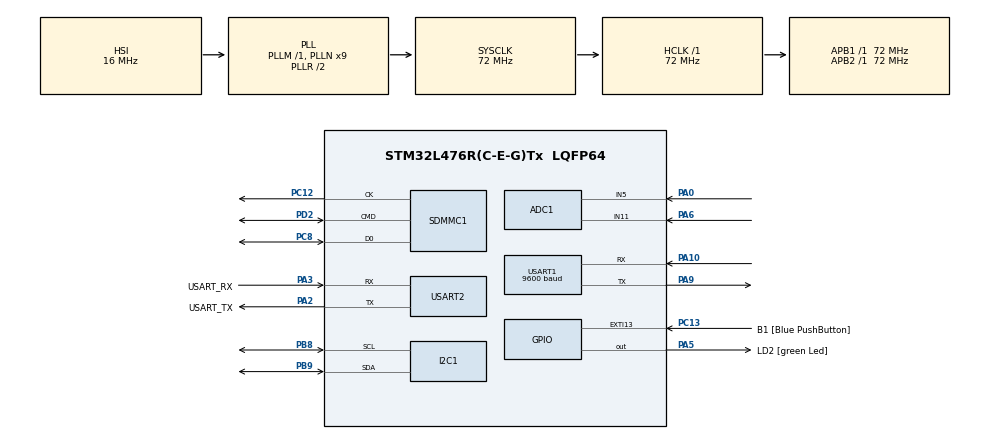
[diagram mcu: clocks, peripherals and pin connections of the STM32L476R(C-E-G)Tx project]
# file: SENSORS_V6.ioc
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ADC1.Channel-0\#ChannelRegularConversion=ADC_CHANNEL_5
ADC1.Channel-1\#ChannelRegularConversion=ADC_CHANNEL_11
ADC1.ContinuousConvMode=DISABLE
ADC1.DMAContinuousRequests=ENABLE
ADC1.DiscontinuousConvMode=ENABLE
ADC1.NbrOfConversion=2
ADC1.NbrOfConversionFlag=1
ADC1.OffsetNumber-0\#ChannelRegularConversion=ADC_OFFSET_NONE
ADC1.OffsetNumber-1\#ChannelRegularConversion=ADC_OFFSET_NONE
ADC1.OversamplingMode=ENABLE
ADC1.Rank-0\#ChannelRegularConversion=1
ADC1.Rank-1\#ChannelRegularConversion=2
ADC1.SamplingTime-0\#ChannelRegularConversion=ADC_SAMPLETIME_2CYCLES_5
ADC1.SamplingTime-1\#ChannelRegularConversion=ADC_SAMPLETIME_2CYCLES_5
ADC1.master=1
Dma.ADC1.0.Direction=DMA_PERIPH_TO_MEMORY
Dma.ADC1.0.Instance=DMA1_Channel1
Dma.ADC1.0.MemDataAlignment=DMA_MDATAALIGN_HALFWORD
Dma.ADC1.0.MemInc=DMA_MINC_ENABLE
Dma.ADC1.0.Mode=DMA_CIRCULAR
Dma.ADC1.0.PeriphDataAlignment=DMA_PDATAALIGN_HALFWORD
Dma.ADC1.0.PeriphInc=DMA_PINC_DISABLE
Dma.ADC1.0.Priority=DMA_PRIORITY_LOW
Dma.Request0=ADC1
FATFS._MAX_SS=4096
I2C1.Timing=0x10808DD3
Mcu.Family=STM32L4
Mcu.Name=STM32L476R(C-E-G)Tx
Mcu.Package=LQFP64
NVIC.DMA1_Channel1_IRQn=true\:0\:0\:false\:false\:true\:false
NVIC.PriorityGroup=NVIC_PRIORITYGROUP_4
PA0.Signal=ADCx_IN5
PA10.Mode=Asynchronous
PA10.Signal=USART1_RX
PA13\ (JTMS-SWDIO).GPIO_Label=TMS
PA13\ (JTMS-SWDIO).Mode=Serial_Wire
PA13\ (JTMS-SWDIO).Signal=SYS_JTMS-SWDIO
PA14\ (JTCK-SWCLK).GPIO_Label=TCK
PA14\ (JTCK-SWCLK).Mode=Serial_Wire
PA14\ (JTCK-SWCLK).Signal=SYS_JTCK-SWCLK
PA2.GPIO_Label=USART_TX
PA2.GPIO_Mode=GPIO_MODE_AF_PP
PA2.GPIO_PuPd=GPIO_NOPULL
PA2.GPIO_Speed=GPIO_SPEED_FREQ_VERY_HIGH
PA2.Mode=Asynchronous
PA2.Signal=USART2_TX
PA3.GPIO_Label=USART_RX
PA3.GPIO_Mode=GPIO_MODE_AF_PP
PA3.GPIO_PuPd=GPIO_NOPULL
PA3.GPIO_Speed=GPIO_SPEED_FREQ_VERY_HIGH
PA3.Mode=Asynchronous
PA3.Signal=USART2_RX
PA5.GPIO_Label=LD2 [green Led]
PA5.GPIO_ModeDefaultOutputPP=GPIO_MODE_OUTPUT_PP
PA5.GPIO_PuPd=GPIO_NOPULL
PA5.GPIO_Speed=GPIO_SPEED_FREQ_LOW
PA5.Signal=GPIO_Output
PA6.Signal=ADCx_IN11
PA9.Mode=Asynchronous
PA9.Signal=USART1_TX
PB3\ (JTDO-TRACESWO).GPIO_Label=SWO
PB3\ (JTDO-TRACESWO).Signal=SYS_JTDO-SWO
PB8.Mode=I2C
PB8.Signal=I2C1_SCL
PB9.Mode=I2C
PB9.Signal=I2C1_SDA
PC12.Mode=SD_1_bit
PC12.Signal=SDMMC1_CK
PC13.GPIO_Label=B1 [Blue PushButton]
PC13.GPIO_ModeDefaultEXTI=GPIO_MODE_IT_FALLING
PC13.GPIO_PuPd=GPIO_NOPULL
PC13.Signal=GPXTI13
PC14-OSC32_IN\ (PC14).Mode=LSE-External-Oscillator
PC14-OSC32_IN\ (PC14).Signal=RCC_OSC32_IN
PC15-OSC32_OUT\ (PC15).Mode=LSE-External-Oscillator
PC15-OSC32_OUT\ (PC15).Signal=RCC_OSC32_OUT
PC8.Mode=SD_1_bit
PC8.Signal=SDMMC1_D0
PD2.Mode=SD_1_bit
PD2.Signal=SDMMC1_CMD
PH0-OSC_IN\ (PH0).Signal=RCC_OSC_IN
PH1-OSC_OUT\ (PH1).Signal=RCC_OSC_OUT
ProjectManager.HeapSize=0x2000
ProjectManager.StackSize=0x4000
ProjectManager.TargetToolchain=TrueSTUDIO
RCC.ADCFreq_Value=64000000
RCC.AHBFreq_Value=72000000
RCC.APB1Freq_Value=72000000
RCC.APB1TimFreq_Value=72000000
RCC.APB2Freq_Value=72000000
RCC.APB2TimFreq_Value=72000000
RCC.CortexFreq_Value=72000000
RCC.HCLKFreq_Value=72000000
RCC.HSE_VALUE=8000000
RCC.HSI_VALUE=16000000
RCC.MSI_VALUE=4000000
RCC.PLLN=9
RCC.PLLSAI1Q=RCC_PLLQ_DIV4
RCC.PLLSourceVirtual=RCC_PLLSOURCE_HSI
RCC.PREFETCH_ENABLE=1
RCC.SYSCLKFreq_VALUE=72000000
RCC.SYSCLKSource=RCC_SYSCLKSOURCE_PLLCLK
RCC.USBFreq_Value=32000000
RCC.VCOOutputFreq_Value=144000000
SH.ADCx_IN11.0=ADC1_IN11,IN11-Single-Ended
SH.ADCx_IN5.0=ADC1_IN5,IN5-Single-Ended
USART1.BaudRate=9600
USART1.VirtualMode-Asynchronous=VM_ASYNC
USART2.VirtualMode-Asynchronous=VM_ASYNC
VP_FATFS_VS_SDIO.Mode=SDIO
board=NUCLEO-L476RG

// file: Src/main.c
/* USER CODE BEGIN Header */
/**
  ******************************************************************************
  * @file           : main.c
  * @brief          : Main program body
  ******************************************************************************
  * This notice applies to any and all portions of this file
  * that are not between comment pairs USER CODE BEGIN and
  * USER CODE END. Other portions of this file, whether
  * inserted by the user or by software development tools
  * are owned by their respective copyright owners.
  *
  * Copyright (c) 2019 STMicroelectronics International N.V.
  * All rights reserved.
  *
  * Redistribution and use in source and binary forms, with or without
  * modification, are permitted, provided that the following conditions are met:
  *
  * 1. Redistribution of source code must retain the above copyright notice,
  *    this list of conditions and the following disclaimer.
  * 2. Redistributions in binary form must reproduce the above copyright notice,
  *    this list of conditions and the following disclaimer in the documentation
  *    and/or other materials provided with the distribution.
  * 3. Neither the name of STMicroelectronics nor the names of other
  *    contributors to this software may be used to endorse or promote products
  *    derived from this software without specific written permission.
  * 4. This software, including modifications and/or derivative works of this
  *    software, must execute solely and exclusively on microcontroller or
  *    microprocessor devices manufactured by or for STMicroelectronics.
  * 5. Redistribution and use of this software other than as permitted under
  *    this license is void and will automatically terminate your rights under
  *    this license.
  *
  * THIS SOFTWARE IS PROVIDED BY STMICROELECTRONICS AND CONTRIBUTORS "AS IS"
  * AND ANY EXPRESS, IMPLIED OR STATUTORY WARRANTIES, INCLUDING, BUT NOT
  * LIMITED TO, THE IMPLIED WARRANTIES OF MERCHANTABILITY, FITNESS FOR A
  * PARTICULAR PURPOSE AND NON-INFRINGEMENT OF THIRD PARTY INTELLECTUAL PROPERTY
  * RIGHTS ARE DISCLAIMED TO THE FULLEST EXTENT PERMITTED BY LAW. IN NO EVENT
  * SHALL STMICROELECTRONICS OR CONTRIBUTORS BE LIABLE FOR ANY DIRECT, INDIRECT,
  * INCIDENTAL, SPECIAL, EXEMPLARY, OR CONSEQUENTIAL DAMAGES (INCLUDING, BUT NOT
  * LIMITED TO, PROCUREMENT OF SUBSTITUTE GOODS OR SERVICES; LOSS OF USE, DATA,
  * OR PROFITS; OR BUSINESS INTERRUPTION) HOWEVER CAUSED AND ON ANY THEORY OF
  * LIABILITY, WHETHER IN CONTRACT, STRICT LIABILITY, OR TORT (INCLUDING
  * NEGLIGENCE OR OTHERWISE) ARISING IN ANY WAY OUT OF THE USE OF THIS SOFTWARE,
  * EVEN IF ADVISED OF THE POSSIBILITY OF SUCH DAMAGE.
  *
  ******************************************************************************
  */
/* USER CODE END Header */

#include "main.h"
#include "adc.h"
#include "dma.h"
#include "fatfs.h"
#include "i2c.h"
#include "sdmmc.h"
#include "usart.h"
#include "gpio.h"

/* USER CODE BEGIN Includes */

#include "SENSORS_V6.h"
#include "string.h"
#include "gps.h"

/* USER CODE END Includes */

void SystemClock_Config(void);

int main(void)
{

  /* MCU Configuration--------------------------------------------------------*/

  /* Reset of all peripherals, Initializes the Flash interface and the Systick. */
  HAL_Init();

  /* Configure the system clock */
  SystemClock_Config();

  /* Initialize all configured peripherals */
  MX_GPIO_Init();
  MX_DMA_Init();
  MX_USART2_UART_Init();
  MX_I2C1_Init();
  MX_SDMMC1_SD_Init();
  MX_FATFS_Init();
  MX_USART1_UART_Init();
  MX_ADC1_Init();
  /* USER CODE BEGIN 2 */

  TEMP_HUM_init();
  PRES_init();
  MAGN_init();
  DMA_init();

  uint32_t GPS_COORD[3];

  /* USER CODE END 2 */

  /* Infinite loop */
  /* USER CODE BEGIN WHILE */
  while (1)
  {
	  get_TEMP();				//TEMPERATURE		(°C)
	  get_HUM();				//HUMIDITE			(%)
	  get_PRES();				//PRESSION			(mbar ou hPa)
	  get_MAGN();				//CHAMP MAGNETIQUE	(mgauss)
	  get_ADC();				//GAS				(ppm)

	  GPS_GETPOS(GPS_COORD);	//POSITION GPS		(m)

	  SD_SENSORS(GPS_COORD[0],GPS_COORD[1],GPS_COORD[2]);

    /* USER CODE END WHILE */

  }
}

void SystemClock_Config(void)
{
  RCC_OscInitTypeDef RCC_OscInitStruct = {0};
  RCC_ClkInitTypeDef RCC_ClkInitStruct = {0};
  RCC_PeriphCLKInitTypeDef PeriphClkInit = {0};

  /**Initializes the CPU, AHB and APB busses clocks
  */
  RCC_OscInitStruct.OscillatorType = RCC_OSCILLATORTYPE_HSI;
  RCC_OscInitStruct.HSIState = RCC_HSI_ON;
  RCC_OscInitStruct.HSICalibrationValue = RCC_HSICALIBRATION_DEFAULT;
  RCC_OscInitStruct.PLL.PLLState = RCC_PLL_ON;
  RCC_OscInitStruct.PLL.PLLSource = RCC_PLLSOURCE_HSI;
  RCC_OscInitStruct.PLL.PLLM = 1;
  RCC_OscInitStruct.PLL.PLLN = 9;
  RCC_OscInitStruct.PLL.PLLP = RCC_PLLP_DIV7;
  RCC_OscInitStruct.PLL.PLLQ = RCC_PLLQ_DIV2;
  RCC_OscInitStruct.PLL.PLLR = RCC_PLLR_DIV2;
  if (HAL_RCC_OscConfig(&RCC_OscInitStruct) != HAL_OK)
  {
    Error_Handler();
  }
  /**Initializes the CPU, AHB and APB busses clocks
  */
  RCC_ClkInitStruct.ClockType = RCC_CLOCKTYPE_HCLK|RCC_CLOCKTYPE_SYSCLK
                              |RCC_CLOCKTYPE_PCLK1|RCC_CLOCKTYPE_PCLK2;
  RCC_ClkInitStruct.SYSCLKSource = RCC_SYSCLKSOURCE_PLLCLK;
  RCC_ClkInitStruct.AHBCLKDivider = RCC_SYSCLK_DIV1;
  RCC_ClkInitStruct.APB1CLKDivider = RCC_HCLK_DIV1;
  RCC_ClkInitStruct.APB2CLKDivider = RCC_HCLK_DIV1;

  if (HAL_RCC_ClockConfig(&RCC_ClkInitStruct, FLASH_LATENCY_4) != HAL_OK)
  {
    Error_Handler();
  }
  PeriphClkInit.PeriphClockSelection = RCC_PERIPHCLK_USART1|RCC_PERIPHCLK_USART2
                              |RCC_PERIPHCLK_I2C1|RCC_PERIPHCLK_SDMMC1
                              |RCC_PERIPHCLK_ADC;
  PeriphClkInit.Usart1ClockSelection = RCC_USART1CLKSOURCE_PCLK2;
  PeriphClkInit.Usart2ClockSelection = RCC_USART2CLKSOURCE_PCLK1;
  PeriphClkInit.I2c1ClockSelection = RCC_I2C1CLKSOURCE_PCLK1;
  PeriphClkInit.AdcClockSelection = RCC_ADCCLKSOURCE_PLLSAI1;
  PeriphClkInit.Sdmmc1ClockSelection = RCC_SDMMC1CLKSOURCE_PLLSAI1;
  PeriphClkInit.PLLSAI1.PLLSAI1Source = RCC_PLLSOURCE_HSI;
  PeriphClkInit.PLLSAI1.PLLSAI1M = 1;
  PeriphClkInit.PLLSAI1.PLLSAI1N = 8;
  PeriphClkInit.PLLSAI1.PLLSAI1P = RCC_PLLP_DIV7;
  PeriphClkInit.PLLSAI1.PLLSAI1Q = RCC_PLLQ_DIV4;
  PeriphClkInit.PLLSAI1.PLLSAI1R = RCC_PLLR_DIV2;
  PeriphClkInit.PLLSAI1.PLLSAI1ClockOut = RCC_PLLSAI1_48M2CLK|RCC_PLLSAI1_ADC1CLK;
  if (HAL_RCCEx_PeriphCLKConfig(&PeriphClkInit) != HAL_OK)
  {
    Error_Handler();
  }
  /**Configure the main internal regulator output voltage
  */
  if (HAL_PWREx_ControlVoltageScaling(PWR_REGULATOR_VOLTAGE_SCALE1) != HAL_OK)
  {
    Error_Handler();
  }
}

void Error_Handler(void)
{
}

/************************ (C) COPYRIGHT STMicroelectronics *****END OF FILE****/
